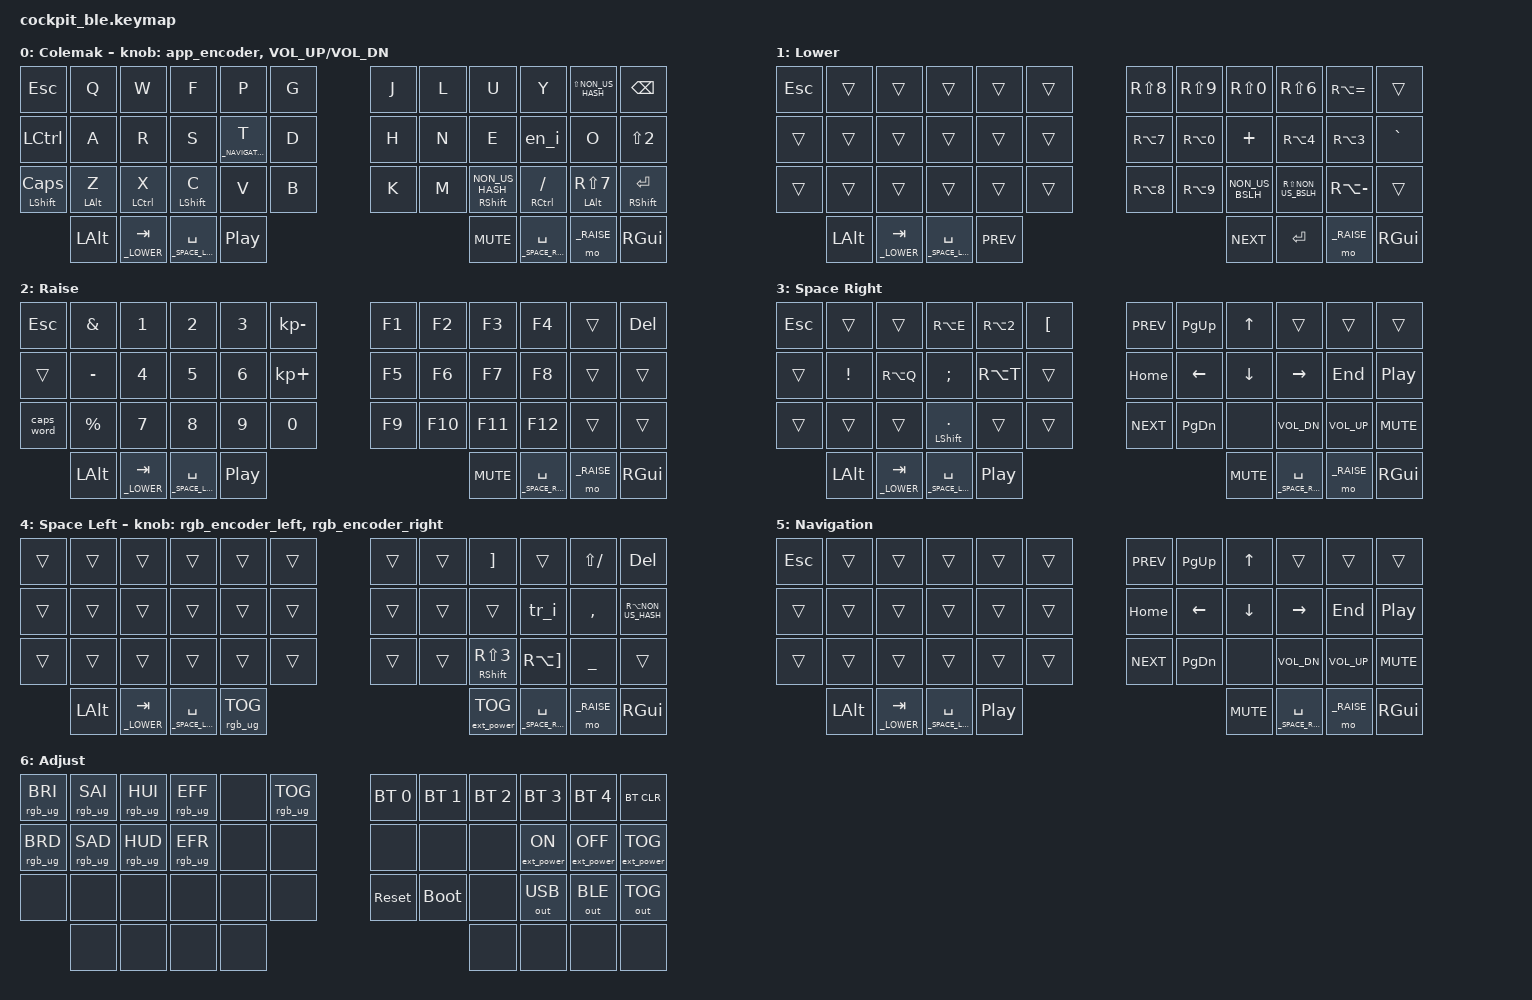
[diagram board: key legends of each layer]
/*
 * Copyright (c) 2023 ozkan (github.com/ozkan)
 *
 * SPDX-License-Identifier: MIT
 */

#include <behaviors.dtsi>
#include <dt-bindings/zmk/keys.h>
#include <dt-bindings/zmk/ext_power.h>
#include <dt-bindings/zmk/outputs.h>
#include <dt-bindings/zmk/bt.h>
#include <dt-bindings/zmk/rgb.h>


// Layers
#define _COLEMAK       0
#define _LOWER         1
#define _RAISE         2
#define _SPACE_RIGHT   3
#define _SPACE_LEFT    4
#define _NAVIGATION    5
#define _ADJUST        6

// Using layer taps on thumbs, having quick tap as well helps w/ repeating space
&lt {
  quick_tap_ms = <200>;
};


/ {
    conditional_layers {
        compatible = "zmk,conditional-layers";
        tri_layer {
            if-layers = <1 2>; //lower and raise
            then-layer = <6>;  // adjust
        };
    };

    behaviors {
        ht: hold_tap {
            compatible = "zmk,behavior-hold-tap";
            #binding-cells = <2>;
            flavor = "tap-preferred";
            tapping-term-ms = <200>;
            quick-tap-ms = <150>;
            global-quick-tap;
            bindings = <&kp>, <&kp>;
        };

        en_i: en_i {
            compatible = "zmk,behavior-mod-morph";
            #binding-cells = <0>;
            bindings = <&kp SQT>, <&kp LS(I)>;
            mods = <(MOD_LSFT|MOD_RSFT)>;
        };

        tr_i: tr_i {
            compatible = "zmk,behavior-mod-morph";
            #binding-cells = <0>;
            bindings = <&kp I>, <&kp LS(SQT)>;
            mods = <(MOD_LSFT|MOD_RSFT)>;
        };
        rgb_encoder_right: rgb_encoder_right {
            compatible = "zmk,behavior-sensor-rotate";
            #sensor-binding-cells = <0>;
            bindings =  <&rgb_ug RGB_BRI>, <&rgb_ug RGB_BRD>;
        };

        rgb_encoder_left: rgb_encoder_left {
            compatible = "zmk,behavior-sensor-rotate";
            #sensor-binding-cells = <0>;
            bindings = <&rgb_ug RGB_EFF>, <&rgb_ug RGB_EFR>;
        };

        next_app: next_app {
            compatible = "zmk,behavior-mod-morph";
            #binding-cells = <0>;
            bindings = <&kp PG_UP>, <&kp TAB>;
            mods = <(MOD_LALT)>;
            keep-mods = <(MOD_LALT)>;
        };

        previous_app: previous_app {
            compatible = "zmk,behavior-mod-morph";
            #binding-cells = <0>;
            bindings = <&kp PG_DN>, <&kp LS(TAB)>;
            mods = <(MOD_LALT)>;
            keep-mods = <(MOD_LALT)>;
        };

        //Switch between the running applications
        app_encoder: app_encoder {
            compatible = "zmk,behavior-sensor-rotate";
            #sensor-binding-cells = <0>;
            bindings =  <&next_app>, <&previous_app>;
        };
    };

    combos {
        compatible = "zmk,combos";
        combo_del {
            timeout-ms = <50>;
            key-positions = <10 11>;
            bindings = <&kp DEL>;
        };
    };

    keymap {
        compatible = "zmk,keymap";
        default_layer {
       // ╭──────┬──────┬──────┬──────┬──────┬──────╮                          ╭──────┬──────┬──────┬──────┬──────┬──────╮
       // │  ESC │  Q   │  W   │  F   │  P   │  G   │                          │  J   │  L   │  U   │  Y   │   ;  │ BSPC │
       // ├──────┼──────┼──────┼──────┼──────┼──────┤         (ENCODERS)       ├──────┼──────┼──────┼──────┼──────┼──────┤
       // │ CTRL │  A   │  R   │  S   │NAV T │  D   │   ╭────────╮╭────────╮   │  H   │  N   │  E   │  I   │  O   │   '  │
       // ├──────┼──────┼──────┼──────┼──────┼──────┤   │  PAUSE ││  PAUSE │   ├──────┼──────┼──────┼──────┼──────┼──────┤
       // │SFT_CL│ALT Z │CTL X │SFT C │  V   │  B   │   ╰────────╯╰────────╯   │  K   │  M   │SFT , │CTL . │ALT / │ ENT  │
       // ╰──────┴──────┴──────┼──────┼──────┼──────┴─╮                      ╭─┴──────┼──────┼──────┼──────┴──────┴──────╯
       //                      │  ALT │LOWER │ SPACE  │                      │ SPACE  │RAISE │ WIN  │
       //                      ╰──────┴──────┴────────╯                      ╰────────┴──────┴──────╯            
            display-name = "Colemak";
            bindings = <
                &kp ESC        &kp Q      &kp W       &kp F       &kp P              &kp G                           &kp J &kp L  &kp U                 &kp Y          &kp LS(NON_US_HASH) &kp BSPC
                &kp LCTRL      &kp A      &kp R       &kp S       &lt _NAVIGATION T  &kp D                           &kp H &kp N  &kp E                 &en_i        &kp O               &kp LS(N2)
                &ht LSHFT CLCK &ht LALT Z &ht LCTRL X &ht LSHFT C &kp V              &kp B                           &kp K &kp M  &ht RSHFT NON_US_HASH &ht RCTRL FSLH &ht LALT RS(N7)     &ht RSHFT RET
                                    &kp LALT  &lt _LOWER TAB    &lt _SPACE_LEFT SPACE         &kp C_PLAY_PAUSE  &kp C_MUTE       &lt _SPACE_RIGHT SPACE          &mo _RAISE     &kp RIGHT_GUI
            >;
            sensor-bindings = <&app_encoder &inc_dec_kp C_VOL_UP C_VOL_DN>;
        };

        lower_layer {
        // ╭──────┬──────┬──────┬──────┬──────┬──────╮                          ╭──────┬──────┬──────┬──────┬──────┬──────╮
        // │ ESC  │      │      │      │      │      │                          │  (   │  )   │  =   │  &   │  |   │ DEL  │
        // ├──────┼──────┼──────┼──────┼──────┼──────┤                          ├──────┼──────┼──────┼──────┼──────┼──────┤
        // │      │      │      │      │      │      │   ╭────────╮╭────────╮   │  {   │  }   │  _   │  $   │  #   │   "  │
        // ├──────┼──────┼──────┼──────┼──────┼──────┤   │  PREV  ││  NEXT  │   ├──────┼──────┼──────┼──────┼──────┼──────┤
        // │      │      │      │      │      │      │   ╰────────╯╰────────╯   │  [   │  ]   │  <   │  >   │  \   │ ENT  │
        // ╰──────┴──────┴──────┼──────┼──────┼──────┴─╮                      ╭─┴──────┼──────┼──────┼──────┴──────┴──────╯
        //                      │  ALT │LOWER │ SPACE  │                      │  ENTER │RAISE │ WIN  │
        //                      ╰──────┴──────┴────────╯                      ╰────────┴──────┴──────╯    
            display-name = "Lower";        
            bindings = <
                &kp ESC  &trans  &trans   &trans        &trans          &trans                        &kp RS(N8)  &kp RS(N9)      &kp RS(N0)        &kp RS(N6)           &kp RA(EQUAL)  &trans
                &trans   &trans  &trans   &trans        &trans          &trans                        &kp RA(N7)  &kp RA(N0)      &kp PLUS          &kp RA(N4)           &kp RA(N3)     &kp GRAVE
                &trans   &trans  &trans   &trans        &trans          &trans                        &kp RA(N8)  &kp RA(N9)      &kp NON_US_BSLH   &kp RS(NON_US_BSLH)  &kp RA(MINUS)  &trans
                                 &kp LALT  &lt _LOWER TAB    &lt _SPACE_LEFT SPACE         &kp C_PREV   &kp C_NEXT          &kp RET      &mo _RAISE     &kp RIGHT_GUI
            >;
            
        };
        
        raise_layer {
        // ╭──────┬──────┬──────┬──────┬──────┬──────╮                          ╭──────┬──────┬──────┬──────┬──────┬──────╮
        // │ ESC  │  /   │  1   │  2   │  3   │  -   │                          │  F1  │  F2  │  F3  │  F4  │      │      │
        // ├──────┼──────┼──────┼──────┼──────┼──────┤                          ├──────┼──────┼──────┼──────┼──────┼──────┤
        // │      │  *   │  4   │  5   │  6   │  +   │   ╭────────╮╭────────╮   │  F5  │  F6  │  F7  │  F8  │      │      │
        // ├──────┼──────┼──────┼──────┼──────┼──────┤   │  PAUSE ││  PAUSE │   ├──────┼──────┼──────┼──────┼──────┼──────┤
        // │      │  %   │  7   │  8   │  9   │  0   │   ╰────────╯╰────────╯   │  F9  │  F10 │ F11  │  F1  │      │      │
        // ╰──────┴──────┴──────┼──────┼──────┼──────┴─╮                      ╭─┴──────┼──────┼──────┼──────┴──────┴──────╯
        //                      │  ALT │LOWER │ SPACE  │                      │ SPACE  │RAISE │ WIN  │
        //                      ╰──────┴──────┴────────╯                      ╰────────┴──────┴──────╯   
            display-name = "Raise";         
            bindings = <
                &kp ESC      &kp AMPS    &kp N1    &kp N2        &kp N3         &kp KP_MINUS                      &kp F1  &kp F2                  &kp F3            &kp F4       &trans   &kp DEL
                &trans       &kp MINUS   &kp N4    &kp N5        &kp N6         &kp KP_PLUS                       &kp F5  &kp F6                  &kp F7            &kp F8       &trans   &trans
                &caps_word   &kp PRCNT   &kp N7    &kp N8        &kp N9         &kp N0                            &kp F9  &kp F10                 &kp F11           &kp F12      &trans   &trans
                                         &kp LALT  &lt _LOWER TAB    &lt _SPACE_LEFT SPACE         &kp C_PLAY_PAUSE  &kp C_MUTE       &lt _SPACE_RIGHT SPACE          &mo _RAISE     &kp RIGHT_GUI
            >;

        };

        space_right_layer {
        // ╭──────┬──────┬──────┬──────┬──────┬──────╮                          ╭──────┬──────┬──────┬──────┬──────┬──────╮
        // │ ESC  │      │      │  €   │  £   │  Ğ   │                          │C_PREV│ PGUP │  UP  │      │      │      │
        // ├──────┼──────┼──────┼──────┼──────┼──────┤                          ├──────┼──────┼──────┼──────┼──────┼──────┤
        // │      │  !   │  @   │  Ş   │  ₺   │      │   ╭────────╮╭────────╮   │ HOME │ LEFT │ DOWN │ RGHT │ END  │MPLY  │
        // ├──────┼──────┼──────┼──────┼──────┼──────┤   │  PAUSE ││  PAUSE │   ├──────┼──────┼──────┼──────┼──────┼──────┤
        // │      │      │      │  Ç   │      │      │   ╰────────╯╰────────╯   │C_NEXT│PGDOWN│      │VLDOWN│ VLUP │MUTE  │
        // ╰──────┴──────┴──────┼──────┼──────┼──────┴─╮                      ╭─┴──────┼──────┼──────┼──────┴──────┴──────╯
        //                      │  ALT │LOWER │ SPACE  │                      │ SPACE  │RAISE │ WIN  │
        //                      ╰──────┴──────┴────────╯                      ╰────────┴──────┴──────╯
            display-name = "Space Right";            
            bindings = <
                &kp ESC      &trans    &trans     &kp RA(E)        &kp  RA(N2)     &kp LBKT                                      &kp C_PREV              &kp PG_UP   &kp UP                  &trans         &trans         &trans
                &trans       &kp EXCL  &kp RA(Q)  &kp SEMI         &kp  RA(T)      &trans                                        &kp HOME                &kp LEFT    &kp DOWN                &kp RIGHT      &kp END        &kp C_PLAY_PAUSE
                &trans       &trans    &trans     &ht LSHFT  DOT   &trans          &trans                                        &kp C_NEXT              &kp PG_DN   &none                   &kp C_VOL_DN   &kp C_VOL_UP   &kp C_MUTE
                                       &kp LALT  &lt _LOWER TAB    &lt _SPACE_LEFT SPACE         &kp C_PLAY_PAUSE  &kp C_MUTE       &lt _SPACE_RIGHT SPACE          &mo _RAISE     &kp RIGHT_GUI
                >;
        };

        space_left_layer {
        // ╭──────┬──────┬──────┬──────┬──────┬──────╮                          ╭──────┬──────┬──────┬──────┬──────┬──────╮
        // │      │      │      │      │      │      │                          │      │      │  Ü   │      │  :   │ DEL  │
        // ├──────┼──────┼──────┼──────┼──────┼──────┤                          ├──────┼──────┼──────┼──────┼──────┼──────┤
        // │      │      │      │      │      │      │   ╭────────╮╭────────╮   │      │      │      │  I   │  Ö   │   `  │
        // ├──────┼──────┼──────┼──────┼──────┼──────┤   │RGB_TOG ││ EP_TOG │   ├──────┼──────┼──────┼──────┼──────┼──────┤
        // │      │      │      │      │      │      │   ╰────────╯╰────────╯   │      │      │  ^   │  ~   │  ?   │ ENT  │
        // ╰──────┴──────┴──────┼──────┼──────┼──────┴─╮                      ╭─┴──────┼──────┼──────┼──────┴──────┴──────╯
        //                      │  ALT │LOWER │ SPACE  │                      │ SPACE  │RAISE │ WIN  │
        //                      ╰──────┴──────┴────────╯                      ╰────────┴──────┴──────╯
            display-name = "Space Left";            
            bindings = <
                &trans       &trans    &trans     &trans         &trans             &trans                     &trans          &trans      &kp RBKT            &trans         &kp LS(SLASH)   &kp DEL
                &trans       &trans    &trans     &trans         &trans             &trans                     &trans          &trans      &trans              &tr_i          &kp COMMA       &kp RA(NON_US_HASH)
                &trans       &trans    &trans     &trans         &trans             &trans                     &trans          &trans      &ht RSHFT RS(N3)    &kp RA(RBKT)   &kp UNDER       &trans
                                       &kp LALT  &lt _LOWER TAB    &lt _SPACE_LEFT SPACE       &rgb_ug RGB_TOG  &ext_power EP_TOG     &lt _SPACE_RIGHT SPACE          &mo _RAISE     &kp RIGHT_GUI
            >;
            sensor-bindings = <&rgb_encoder_left &rgb_encoder_right>;
        };

        navigation_layer {
        // ╭──────┬──────┬──────┬──────┬──────┬──────╮                          ╭──────┬──────┬──────┬──────┬──────┬──────╮
        // │ ESC  │      │      │      │      │      │                          │C_PREV│ PGUP │  UP  │      │      │      │
        // ├──────┼──────┼──────┼──────┼──────┼──────┤                          ├──────┼──────┼──────┼──────┼──────┼──────┤
        // │      │      │      │      │NAV T │      │   ╭────────╮╭────────╮   │ HOME │ LEFT │ DOWN │ RGHT │ END  │MPLY  │
        // ├──────┼──────┼──────┼──────┼──────┼──────┤   │  PAUSE ││  PAUSE │   ├──────┼──────┼──────┼──────┼──────┼──────┤
        // │      │      │      │      │      │      │   ╰────────╯╰────────╯   │C_NEXT│PGDOWN│      │VLDOWN│ VLUP │MUTE  │
        // ╰──────┴──────┴──────┼──────┼──────┼──────┴─╮                      ╭─┴──────┼──────┼──────┼──────┴──────┴──────╯
        //                      │  ALT │LOWER │ SPACE  │                      │ SPACE  │RAISE │ WIN  │
        //                      ╰──────┴──────┴────────╯                      ╰────────┴──────┴──────╯   
            display-name = "Navigation";     
            bindings = <
                &kp ESC      &trans    &trans     &trans           &trans       &trans       &kp C_PREV              &kp PG_UP   &kp UP                  &trans         &trans         &trans
                &trans       &trans    &trans     &trans           &trans       &trans       &kp HOME                &kp LEFT    &kp DOWN                &kp RIGHT      &kp END        &kp C_PLAY_PAUSE
                &trans       &trans    &trans     &trans           &trans       &trans       &kp C_NEXT              &kp PG_DN   &none                   &kp C_VOL_DN   &kp C_VOL_UP   &kp C_MUTE
                                       &kp LALT  &lt _LOWER TAB    &lt _SPACE_LEFT SPACE         &kp C_PLAY_PAUSE  &kp C_MUTE       &lt _SPACE_RIGHT SPACE          &mo _RAISE     &kp RIGHT_GUI
            >;
        };

        adjust_layer {
        // ╭──────┬──────┬──────┬──────┬──────┬──────╮                          ╭──────┬──────┬──────┬──────┬──────┬──────╮
        // │ BRI+ │ SAT+ │ HUE+ │ ANI+ │      │ TOG  │                          │  BT1 │ BT2  │ BT3  │ BT4  │ BT5  │BT_CLR│
        // ├──────┼──────┼──────┼──────┼──────┼──────┤                          ├──────┼──────┼──────┼──────┼──────┼──────┤
        // │ BRI- │ SAT- │ HUE- │ ANI- │      │      │   ╭────────╮╭────────╮   │      │      │      │EP_ON │EP_OFF│EP_TOG│
        // ├──────┼──────┼──────┼──────┼──────┼──────┤   │  PAUSE ││  PAUSE │   ├──────┼──────┼──────┼──────┼──────┼──────┤
        // │      │      │      │      │      │      │   ╰────────╯╰────────╯   │RESET │ BOOT │      │O_USB │O_BLE │OUTTOG│
        // ╰──────┴──────┴──────┼──────┼──────┼──────┴─╮                      ╭─┴──────┼──────┼──────┼──────┴──────┴──────╯
        //                      │  ALT │LOWER │ SPACE  │                      │ SPACE  │RAISE │ WIN  │
        //                      ╰──────┴──────┴────────╯                      ╰────────┴──────┴──────╯    
            display-name = "Adjust";        
            bindings = <
                &rgb_ug RGB_BRI &rgb_ug RGB_SAI &rgb_ug RGB_HUI &rgb_ug RGB_EFF &none &rgb_ug RGB_TOG              &bt BT_SEL 0 &bt BT_SEL 1  &bt BT_SEL 2 &bt BT_SEL 3       &bt BT_SEL 4        &bt BT_CLR
                &rgb_ug RGB_BRD &rgb_ug RGB_SAD &rgb_ug RGB_HUD &rgb_ug RGB_EFR &none &none                        &none        &none         &none        &ext_power EP_ON   &ext_power EP_OFF   &ext_power EP_TOG
                &none           &none           &none           &none           &none &none                        &sys_reset   &bootloader   &none        &out OUT_USB       &out OUT_BLE        &out OUT_TOG
                                                &none           &none           &none         &none      &none     &none        &none        &none
            >;
        };
    };
};






